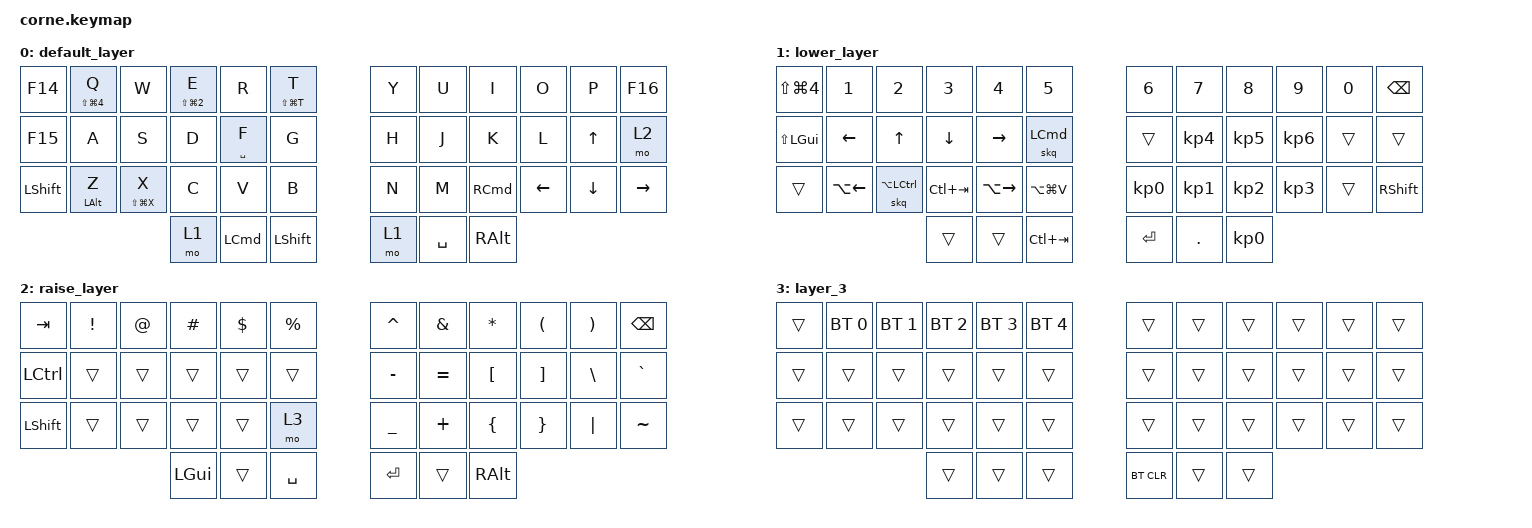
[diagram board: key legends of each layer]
// Copyright 2024 saikocat (@saikocat)
// SPDX-License-Identifier: MIT

#include <behaviors/mouse_keys.dtsi>
#include "mouse.dtsi"
#include <behaviors.dtsi>
#include <dt-bindings/zmk/bt.h>
#include <dt-bindings/zmk/keys.h>

// Override Nice!View SPI pin

&nice_view_spi { cs-gpios = <&pro_micro 10 GPIO_ACTIVE_HIGH>; };

// https://zmk.dev/docs/features/studio#including-extra-layers

/ {
    behaviors {
        skq: sticky_key_quick_release {
            label = "STICKY_KEY_QUICK_RELEASE";
            compatible = "zmk,behavior-sticky-key";
            #binding-cells = <1>;
            bindings = <&kp>;
            release-after-ms = <2000>;
            quick-release;
            ignore-modifiers;
        };

        gqt: global-quick-tap {
            compatible = "zmk,behavior-hold-tap";
            label = "GLOBAL_QUICK_TAP";
            #binding-cells = <2>;
            flavor = "tap-preferred";
            tapping-term-ms = <250>;
            quick-tap-ms = <150>;
            global-quick-tap;
            bindings = <&kp>, <&kp>;
        };
    };
};

/ {
    combos {
        compatible = "zmk,combos";

        combo_escape {
            bindings = <&kp ESCAPE>;
            key-positions = <1 2>;
        };

        combo_exclaimation {
            bindings = <&kp EXCLAMATION>;
            key-positions = <2 3>;
        };

        combo_at_sign {
            bindings = <&kp AT_SIGN>;
            key-positions = <14 15 16>;
        };

        combo_hash {
            bindings = <&kp HASH>;
            key-positions = <1 3>;
        };

        combo_dollar {
            bindings = <&kp DOLLAR>;
            key-positions = <1 5>;
        };

        combo_percent {
            bindings = <&kp PERCENT>;
            key-positions = <2 4>;
        };

        combo_ampersand {
            bindings = <&kp AMPS>;
            key-positions = <19 20>;
        };

        combo_caret {
            bindings = <&kp CARET>;
            key-positions = <19 21>;
        };

        combo_asterisk {
            bindings = <&kp ASTRK>;
            key-positions = <21 20>;
        };

        combo_left_parenthesis {
            bindings = <&kp LEFT_PARENTHESIS>;
            key-positions = <8 7>;
        };

        combo_right_parenthesis {
            bindings = <&kp RIGHT_PARENTHESIS>;
            key-positions = <9 8>;
        };

        combo_volume_up {
            bindings = <&kp C_VOLUME_UP>;
            key-positions = <27 28>;
        };

        combo_volume_down {
            bindings = <&kp K_VOLUME_DOWN>;
            key-positions = <25 26>;
        };

        combo_mute {
            bindings = <&kp C_MUTE>;
            key-positions = <25 26 27>;
        };

        combo_backspace {
            bindings = <&kp BACKSPACE>;
            key-positions = <6 7>;
        };

        combo_delete {
            bindings = <&kp DELETE>;
            key-positions = <5 4>;
        };

        combo_underscore {
            bindings = <&kp UNDERSCORE>;
            key-positions = <29 28>;
        };

        combo_minus {
            bindings = <&kp MINUS>;
            key-positions = <17 16>;
        };

        combo_plus {
            bindings = <&kp PLUS>;
            key-positions = <30 31>;
        };

        combo_equal {
            bindings = <&kp EQUAL>;
            key-positions = <18 19>;
        };

        combo_media_previous {
            bindings = <&kp C_RW>;
            key-positions = <13 26>;
        };

        combo_Media_Next {
            bindings = <&kp C_FF>;
            key-positions = <27 16>;
        };

        combo_left_control {
            bindings = <&kp LEFT_CONTROL>;
            key-positions = <24 36>;
        };

        combo_left_option {
            bindings = <&kp LEFT_ALT>;
            key-positions = <24 38>;
        };

        combo_single_quote {
            bindings = <&kp SINGLE_QUOTE>;
            key-positions = <9 10>;
        };

        combo_apostrophe {
            bindings = <&kp DOUBLE_QUOTES>;
            key-positions = <10 20 21>;
        };

        combo_question {
            bindings = <&kp QUESTION>;
            key-positions = <21 20 19>;
        };

        combo_slash {
            bindings = <&kp SLASH>;
            key-positions = <9 10 20>;
        };

        combo_colon {
            bindings = <&kp COLON>;
            key-positions = <33 32 31>;
        };

        combo_semicolon {
            bindings = <&kp SEMI>;
            key-positions = <30 31 32>;
        };

        combo_dot {
            bindings = <&kp DOT>;
            key-positions = <9 8 19>;
        };

        combo_comma {
            bindings = <&kp COMMA>;
            key-positions = <18 7 8>;
        };

        combo_right_bracket {
            bindings = <&kp RIGHT_BRACKET>;
            key-positions = <23 22>;
        };

        combo_left_bracket {
            bindings = <&kp LEFT_BRACKET>;
            key-positions = <22 21>;
        };

        combo_backslash {
            bindings = <&kp BACKSLASH>;
            key-positions = <10 11>;
        };

        combo_enter_left {
            bindings = <&kp ENTER>;
            key-positions = <2 3 4>;
        };

        combo_enter_right {
            bindings = <&kp ENTER>;
            key-positions = <9 8 7>;
        };

        combo_play {
            bindings = <&kp C_PLAY_PAUSE>;
            key-positions = <26 27>;
        };

        combo_tab_2 {
            bindings = <&kp TAB>;
            key-positions = <15 16>;
        };

        combo_space {
            bindings = <&kp SPACE>;
            key-positions = <1 2 3>;
        };

        combo_space_2 {
            bindings = <&kp SPACE>;
            key-positions = <15 16 17>;
        };

        combo_meme {
            bindings = <&macro_meme>;
            key-positions = <34 30>;
        };

        combo_sad {
            bindings = <&macro_sweat>;
            key-positions = <25 16>;
        };

        combo_thumbs_up {
            bindings = <&macro_thumbs_up>;
            key-positions = <17 25>;
        };

        combo_cheers_benroy {
            bindings = <&macro_cheers_benroy>;
            key-positions = <25 17 3>;
        };

        combo_desktop_right {
            bindings = <&kp RC(RIGHT)>;
            key-positions = <41 35>;
        };

        combo_desktop_left {
            bindings = <&kp RC(LEFT)>;
            key-positions = <41 33>;
        };

        combo_desktop_up {
            bindings = <&kp RC(UP_ARROW)>;
            key-positions = <41 22>;
        };

        combo_joy_emote {
            bindings = <&macro_joy_emote>;
            key-positions = <25 15>;
        };

        combo_macro_pathetic {
            bindings = <&macro_patriotic_pathetic>;
            key-positions = <33 30 32>;
        };

        combo_backtick {
            bindings = <&kp GRAVE>;
            key-positions = <3 16 2>;
        };

        combo_right_shift {
            bindings = <&kp RIGHT_SHIFT>;
            key-positions = <31 32>;
        };

        combo_right_command {
            bindings = <&kp RIGHT_COMMAND>;
            key-positions = <23 41>;
        };

        combo_tilde {
            bindings = <&kp GRAVE>;
            key-positions = <17 4 3>;
        };

        man-in-arena {
            bindings = <&man_in_arena>;
            key-positions = <17 16 15 18 19 20>;
        };

        combo_right_desktop {
            bindings = <&kp RC(RIGHT)>;
            key-positions = <5 17>;
        };

        combo_left_desktop {
            bindings = <&kp LC(LEFT_ARROW)>;
            key-positions = <16 4>;
        };
    };

    macros {
        macro_meme: macro_meme {
            compatible = "zmk,behavior-macro";
            label = "MACRO_MEME";
            #binding-cells = <0>;
            bindings = <&kp LS(I) &kp SPACE &kp F &kp E &kp E &kp L &kp SPACE &kp L &kp I &kp K &kp E &kp SPACE &kp W &kp E &kp SPACE &kp H &kp A &kp V &kp E &kp SPACE &kp G &kp O &kp N &kp E &kp SPACE &kp P &kp A &kp S &kp T &kp SPACE &kp S &kp O &kp C &kp I &kp A &kp L &kp SPACE &kp N &kp O &kp R &kp M &kp S &kp SPACE &kp H &kp A &kp H &kp H &kp A &kp A &kp H &kp A &kp H &kp H &kp H &kp ENTER>;
        };

        macro_thumbs_up: macro_thumbs_up {
            compatible = "zmk,behavior-macro";
            label = "MACRO_THUMBS_UP";
            #binding-cells = <0>;
            bindings = <&none &kp COLON &kp T &kp H &kp U &kp M &kp B &kp S>;
        };

        macro_sweat: macro_sweat {
            compatible = "zmk,behavior-macro";
            label = "MACRO_SWEAT";
            #binding-cells = <0>;
            bindings = <&none &kp COLON &kp S &kp W &kp E &kp A &kp T>;
        };

        macro_cheers_benroy: macro_cheers_benroy {
            compatible = "zmk,behavior-macro";
            label = "MACRO_CHEERS_BENROY";
            #binding-cells = <0>;
            bindings = <&none &kp LS(C) &kp H &kp E &kp E &kp R &kp S &kp EXCL &kp RET &kp LS(B) &kp E &kp N &kp R &kp O &kp Y>;
        };

        macro_joy_emote: macro_joy_emote {
            compatible = "zmk,behavior-macro";
            label = "MACRO_JOY_EMOTE";
            #binding-cells = <0>;
            bindings = <&none &kp COLON &kp J &kp O &kp Y>;
        };

        macro_patriotic_pathetic: macro_patriotic_pathetic {
            compatible = "zmk,behavior-macro";
            label = "MACRO_PATRIOTIC_PATHETIC";
            #binding-cells = <0>;
            bindings = <&none &kp LS(N) &kp O &kp T &kp SPACE &kp B &kp E &kp C &kp A &kp U &kp S &kp E &kp SPACE &kp LS(I) &kp SPACE &kp A &kp M &kp SPACE &kp P &kp A &kp T &kp R &kp I &kp O &kp T &kp I &kp C &kp SPACE &kp B &kp U &kp T &kp SPACE &kp B &kp E &kp C &kp A &kp U &kp S &kp E &kp SPACE &kp LS(I) &kp SPACE &kp A &kp M &kp SPACE &kp P &kp A &kp T &kp H &kp E &kp T &kp I &kp C>;
        };

        man_in_arena: man_in_arena {
            compatible = "zmk,behavior-macro";
            #binding-cells = <0>;
            bindings = <&none>;
            label = "MAN_IN_ARENA";
        };
    };

    keymap {
        compatible = "zmk,keymap";

        default_layer {
            // -----------------------------------------------------------------------------------------
            // |  TAB |  Q  |  W  |  E  |  R  |  T  |   |  Y  |  U   |  I  |  O  |  P  | BKSP |
            // | CTRL |  A  |  S  |  D  |  F  |  G  |   |  H  |  J   |  K  |  L  |  ;  |  '   |
            // | SHFT |  Z  |  X  |  C  |  V  |  B  |   |  N  |  M   |  ,  |  .  |  /  | ESC  |
            //                    | GUI | LWR | SPC |   | ENT | RSE  | ALT |

            bindings = <
&kp F14    &gqt LS(LG(NUMBER_4)) Q  &kp W             &gqt LS(LG(NUMBER_2)) E  &kp R             &gqt LS(LG(T)) T    &kp Y  &kp U      &kp I              &kp O     &kp P     &kp F16
&kp F15    &kp A                    &kp S             &kp D                    &gqt SPACE F      &kp G               &kp H  &kp J      &kp K              &kp L     &kp UP    &mo 2
&kp LSHFT  &gqt LEFT_ALT Z          &gqt LS(LG(X)) X  &kp C                    &kp V             &kp B               &kp N  &kp M      &kp RIGHT_COMMAND  &kp LEFT  &kp DOWN  &kp RIGHT
                                                      &mo 1                    &kp LEFT_COMMAND  &kp LEFT_SHIFT      &mo 1  &kp SPACE  &kp RALT
            >;
        };

        lower_layer {
            // -----------------------------------------------------------------------------------------
            // |  TAB |  1  |  2  |  3  |  4  |  5  |   |  6  |  7  |  8  |  9  |  0  | BKSP |
            // | BTCLR| BT1 | BT2 | BT3 | BT4 | BT5 |   | LFT | DWN |  UP | RGT |     |      |
            // | SHFT |     |     |     |     |     |   |     |     |     |     |     |      |
            //                    | GUI |     | SPC |   | ENT |     | ALT |

            bindings = <
&kp LS(LG(N4))    &kp N1        &kp N2          &kp N3       &kp N4         &kp N5               &kp N6           &kp N7           &kp N8           &kp N9           &kp N0  &kp BSPC
&kp LS(LEFT_GUI)  &kp LEFT      &kp UP          &kp DOWN     &kp RIGHT      &skq LEFT_COMMAND    &trans           &kp KP_NUMBER_4  &kp KP_NUMBER_5  &kp KP_NUMBER_6  &trans  &trans
&trans            &kp LA(LEFT)  &skq LA(LCTRL)  &kp LC(TAB)  &kp LA(RIGHT)  &kp LA(LG(V))        &kp KP_NUMBER_0  &kp KP_NUMBER_1  &kp KP_NUMBER_2  &kp KP_NUMBER_3  &trans  &kp RIGHT_SHIFT
                                                &trans       &trans         &kp LC(TAB)          &kp RET          &kp DOT          &kp KP_NUMBER_0
            >;
        };

        raise_layer {
            // -----------------------------------------------------------------------------------------
            // |  TAB |    |  @  |  #  |  $  |  %  |   |  ^  |  &  |  *  |  (  |  )  | BKSP |
            // | CTRL |     |     |     |     |     |   |  -  |  =  |  [  |  ]  |  \  |  `   |
            // | SHFT |     |     |     |     |     |   |  _  |  +  |  {  |  }  | "|" |  ~   |
            //                    | GUI |     | SPC |   | ENT |     | ALT |

            bindings = <
&kp TAB    &kp EXCL  &kp AT  &kp HASH  &kp DLLR  &kp PRCNT    &kp CARET  &kp AMPS   &kp ASTRK  &kp LPAR  &kp RPAR  &kp BSPC
&kp LCTRL  &trans    &trans  &trans    &trans    &trans       &kp MINUS  &kp EQUAL  &kp LBKT   &kp RBKT  &kp BSLH  &kp GRAVE
&kp LSHFT  &trans    &trans  &trans    &trans    &mo 3        &kp UNDER  &kp PLUS   &kp LBRC   &kp RBRC  &kp PIPE  &kp TILDE
                             &kp LGUI  &trans    &kp SPACE    &kp RET    &trans     &kp RALT
            >;
        };

        layer_3 {
            bindings = <
&trans  &bt BT_SEL 0  &bt BT_SEL 1  &bt BT_SEL 2  &bt BT_SEL 3  &bt BT_SEL 4    &trans      &trans  &trans  &trans  &trans  &trans
&trans  &trans        &trans        &trans        &trans        &trans          &trans      &trans  &trans  &trans  &trans  &trans
&trans  &trans        &trans        &trans        &trans        &trans          &trans      &trans  &trans  &trans  &trans  &trans
                                    &trans        &trans        &trans          &bt BT_CLR  &trans  &trans
            >;
        };
    };
};
